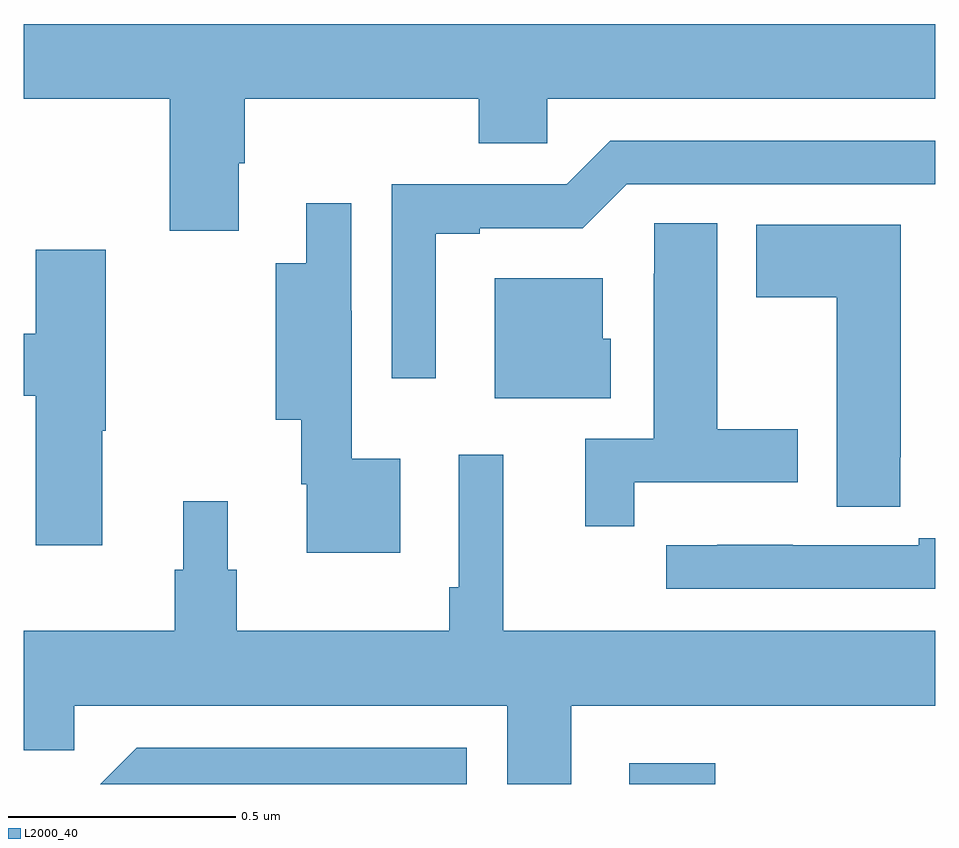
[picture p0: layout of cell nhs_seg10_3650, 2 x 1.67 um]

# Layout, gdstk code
import gdstk
lib = gdstk.Library(unit=1e-6, precision=1e-09)
def R(c, l, rs):  # rectangles x0, y0, x1, y1
    for r in rs: c.add(gdstk.rectangle(r[:2], r[2:], *l))
def P(c, l, *ps):  # polygons
    for p in ps: c.add(gdstk.Polygon(p, *l))
L2000_40 = (2000, 40)

nhs_seg10_3650 = lib.new_cell('nhs_seg10_3650')
R(nhs_seg10_3650, L2000_40, [(157.329,1277.5,157.517,1277.545)])
P(nhs_seg10_3650, L2000_40, [(156.472,1278.862),(156.485,1278.862),(156.485,1279.004),(156.998,1279.004),(156.998,1278.906),(157.149,1278.906),(157.149,1279.004),(158,1279.004),(158,1279.168),(156,1279.168),(156,1279.004),(156.32,1279.004),(156.32,1278.714),(156.472,1278.714)],
  [(156.904,1278.708),(157,1278.708),(157,1278.72),(157.227,1278.72),(157.323,1278.816),(158,1278.816),(158,1278.912),(157.287,1278.912),(157.191,1278.816),(156.807,1278.816),(156.807,1278.39),(156.904,1278.39)],
  [(156.826,1278.214),(156.72,1278.214),(156.72,1278.539),(156.718,1278.539),(156.718,1278.775),(156.62,1278.775),(156.62,1278.643),(156.553,1278.643),(156.553,1278.299),(156.609,1278.299),(156.609,1278.158),(156.621,1278.158),(156.621,1278.008),(156.826,1278.008)],
  [(157.34,1278.162),(157.699,1278.162),(157.699,1278.279),(157.522,1278.279),(157.522,1278.731),(157.383,1278.731),(157.383,1278.62),(157.382,1278.62),(157.382,1278.258),(157.232,1278.258),(157.232,1278.066),(157.34,1278.066)],
  [(157.923,1278.217),(157.924,1278.217),(157.924,1278.727),(157.607,1278.727),(157.607,1278.568),(157.784,1278.568),(157.784,1278.109),(157.923,1278.109)],
  [(156.172,1278.275),(156.18,1278.275),(156.18,1278.673),(156.026,1278.673),(156.026,1278.488),(156,1278.488),(156,1278.352),(156.026,1278.352),(156.026,1278.024),(156.172,1278.024)],
  [(157.288,1278.477),(157.27,1278.477),(157.27,1278.61),(157.034,1278.61),(157.034,1278.347),(157.288,1278.347)],
  [(157.201,1277.672),(158,1277.672),(158,1277.836),(157.052,1277.836),(157.052,1278.223),(156.954,1278.223),(156.954,1277.932),(156.934,1277.932),(156.934,1277.836),(156.467,1277.836),(156.467,1277.97),(156.448,1277.97),(156.448,1278.121),(156.35,1278.121),(156.35,1277.97),(156.331,1277.97),(156.331,1277.836),(156,1277.836),(156,1277.574),(156.111,1277.574),(156.111,1277.672),(157.061,1277.672),(157.061,1277.5),(157.201,1277.5)],
  [(158,1278.039),(157.964,1278.039),(157.964,1278.024),(157.688,1278.024),(157.688,1278.025),(157.522,1278.025),(157.522,1278.024),(157.41,1278.024),(157.41,1277.928),(158,1277.928)],
  [(156.972,1277.58),(156.248,1277.58),(156.168,1277.5),(156.972,1277.5)])

lib.write_gds('nhs_seg10_3650.gds')
